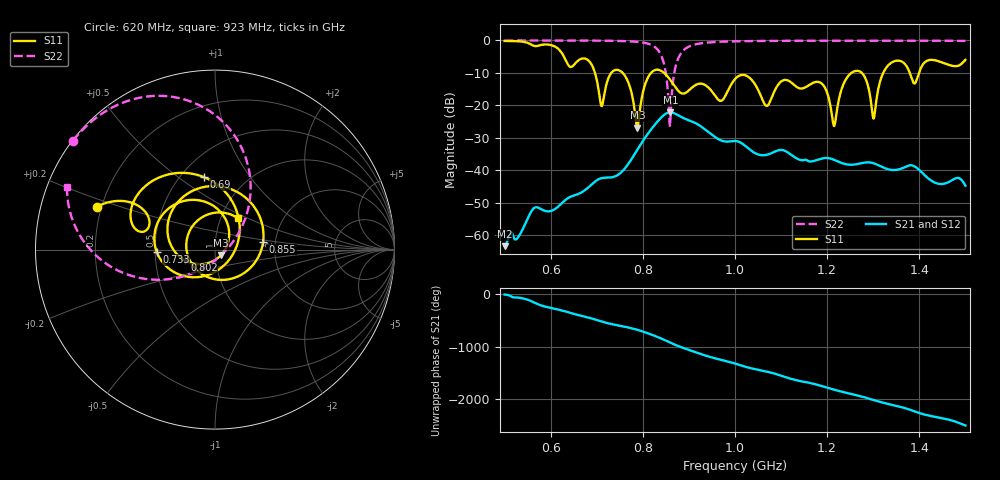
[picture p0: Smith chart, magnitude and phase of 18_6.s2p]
! TOUCHSTONE file generated by CST MICROWAVE STUDIO
! Date and time: Tue Nov 17 07:13:17 2020
! Project name: Scenario_1_Planar_Body_Tissue_Out_of_Line.cst
! Header version: 2018
! Port assignment regex: !\s*Touchstone port\s*([0-9]+)\s*=\s*(CST MWS port|CST DS port)\s*([0-9]+|Zmin|Zmax)\s*\(\"(.*)\"\)(\s*mode\s*([0-9]+))?.*
! Touchstone port assignment:
! Touchstone port 1 = CST MWS port 1 ("")
! Touchstone port 2 = CST MWS port 2 ("")
# GHz S DB R 50
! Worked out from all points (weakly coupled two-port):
!   1003 points, 500 MHz to 1.5 GHz, reference 50 ohm
!   highest |S21| = -22.12 dB at 860 MHz (marker M1); lowest = -63.3 dB at 500 MHz (marker M2)
!   lowest |S11| = -26.9 dB at 788 MHz (marker M3), VSWR 1.10, Z = 53.2 - j3.45 ohm
!   |S11| at or under -10 dB: 756.2 MHz to 817.7 MHz (61.53 MHz wide, 7.82 % of centre); 846.2 MHz to 1.253 GHz (406.5 MHz wide, 38.7 % of centre); 1.275 GHz to 1.322 GHz (46.35 MHz wide, 3.57 % of centre) (the widest 3 of 5)
!   |S22| runs from -26.6 to 0.0 dB; largest |S21 - S12| = 2.3e-05
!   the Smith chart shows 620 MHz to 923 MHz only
!   S11 on the Smith chart (normalised r, x): 620 MHz: 0.18, +0.17; 690 MHz: 0.64, +0.63; 733 MHz: 0.51, -0.01; 802 MHz: 0.71, -0.09; 855 MHz: 1.72, +0.17; 923 MHz: 1.20, +0.44
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0.5  -0.16 -121.6  -63.33 -16.2  -63.33 -16.2  -0.01 151.1
0.62  -3.11 159.9  -50.66 52.2  -50.66 52.2  -0.02 142.5
0.667  -5.62 151.5  -46.77 -60.2  -46.77 -60.2  -0.04 138.4
0.69  -7.76 98.9  -44.18 -111.5  -44.18 -111.5  -0.06 136.0
0.711  -20.21 -45.5  -42.37 -167.8  -42.37 -167.8  -0.08 133.5
0.733  -9.75 -177.9  -42.12 142.3  -42.12 142.3  -0.12 130.4
0.788  -26.86 -45.5  -33.68 36.3  -33.68 36.3  -0.44 117.9
0.802  -14.95 -160.5  -30.56 -2.6  -30.56 -2.6  -0.69 112.1
0.834  -9.05 85.1  -24.62 -106.8  -24.62 -106.8  -3.18 84.6
0.855  -11.31 9.4  -22.22 171.9  -22.22 171.9  -17.00 31.4
0.86  -12.23 -9.9  -22.12 151.4  -22.12 151.4  -23.76 -95.3
0.879  -15.79 -95.8  -23.23 81.1  -23.23 81.1  -4.86 -169.3
0.923  -13.30 54.0  -26.17 -54.7  -26.17 -54.7  -0.96 157.1
1  -11.88 57.3  -30.96 118.6  -30.96 118.6  -0.27 140.3
1.069  -20.16 145.6  -35.20 -35.5  -35.20 -35.5  -0.14 132.6
1.118  -12.54 -84.0  -34.80 -163.0  -34.80 -163.0  -0.11 128.2
1.167  -13.21 71.9  -37.23 101.1  -37.23 101.1  -0.10 124.2
1.215  -26.35 -148.4  -36.74 -17.2  -36.74 -17.2  -0.09 120.5
1.27  -9.50 7.4  -37.93 -135.1  -37.93 -135.1  -0.09 116.4
1.301  -24.08 15.4  -37.82 146.1  -37.82 146.1  -0.08 114.0
1.334  -7.45 24.3  -39.72 70.1  -39.72 70.1  -0.09 111.5
1.5  -5.98 -43.0  -44.72 25.9  -44.72 25.9  -0.13 98.0
